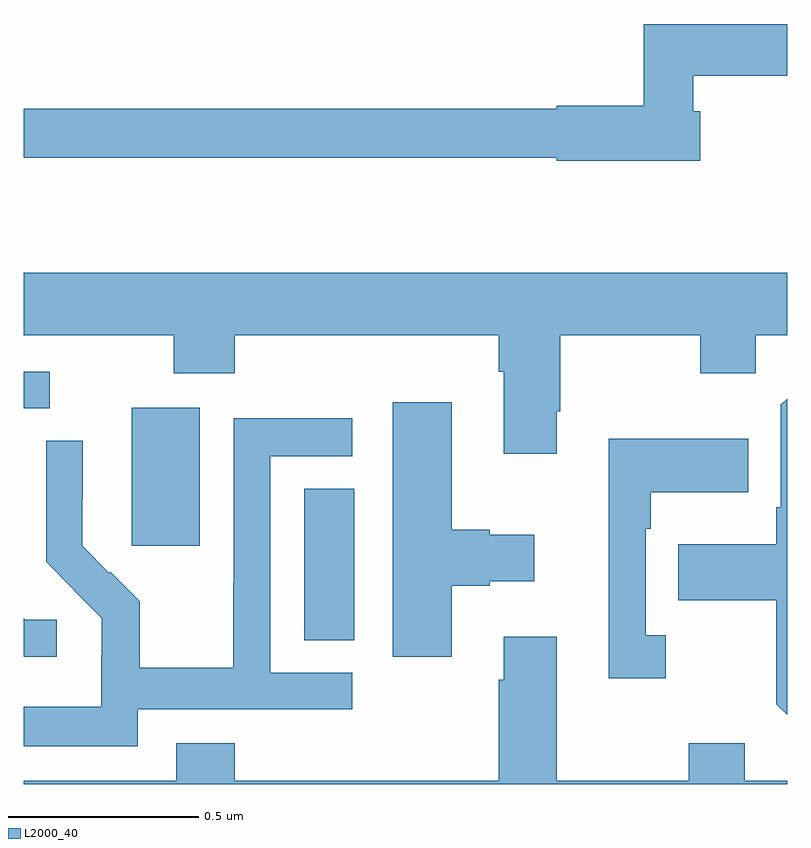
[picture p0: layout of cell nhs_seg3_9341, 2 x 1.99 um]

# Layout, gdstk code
import gdstk
lib = gdstk.Library(unit=1e-6, precision=1e-09)
def R(c, l, rs):  # rectangles x0, y0, x1, y1
    for r in rs: c.add(gdstk.rectangle(r[:2], r[2:], *l))
def P(c, l, *ps):  # polygons
    for p in ps: c.add(gdstk.Polygon(p, *l))
L2000_40 = (2000, 40)

nhs_seg3_9341 = lib.new_cell('nhs_seg3_9341')
R(nhs_seg3_9341, L2000_40, [(227.735,706.777,227.866,707.174), (227.282,707.025,227.461,707.386), (227,707.385,227.068,707.481)])
P(nhs_seg3_9341, L2000_40, [(228.772,708.163),(228.754,708.163),(228.754,708.256),(229,708.256),(229,708.392),(228.625,708.392),(228.625,708.178),(228.396,708.178),(228.396,708.17),(227,708.17),(227,708.042),(228.396,708.042),(228.396,708.034),(228.772,708.034)],
  [(228.397,707.377),(228.405,707.377),(228.405,707.576),(228.772,707.576),(228.772,707.477),(228.918,707.477),(228.918,707.576),(229,707.576),(229,707.74),(227,707.74),(227,707.576),(227.392,707.576),(227.392,707.477),(227.552,707.477),(227.552,707.576),(228.245,707.576),(228.245,707.48),(228.257,707.48),(228.257,707.265),(228.397,707.265)],
  [(229,707.41),(228.984,707.394),(228.984,707.125),(228.972,707.125),(228.972,707.029),(228.715,707.029),(228.715,706.882),(228.972,706.882),(228.972,706.609),(229,706.581)],
  [(228.121,706.919),(228.221,706.919),(228.221,706.931),(228.337,706.931),(228.337,707.053),(228.221,707.053),(228.221,707.066),(228.121,707.066),(228.121,707.401),(227.966,707.401),(227.966,706.734),(228.121,706.734)],
  [(227.298,706.596),(227.86,706.596),(227.86,706.692),(227.646,706.692),(227.646,707.259),(227.86,707.259),(227.86,707.358),(227.55,707.358),(227.55,706.928),(227.548,706.928),(227.548,706.705),(227.303,706.705),(227.303,706.879),(227.226,706.956),(227.223,706.953),(227.153,707.024),(227.153,707.146),(227.154,707.146),(227.154,707.3),(227.058,707.3),(227.058,706.982),(227.131,706.909),(227.13,706.908),(227.204,706.834),(227.204,706.737),(227.202,706.737),(227.202,706.603),(227,706.603),(227,706.499),(227.298,706.499)],
  [(228.682,706.79),(228.63,706.79),(228.63,707.069),(228.643,707.069),(228.643,707.165),(228.899,707.165),(228.899,707.305),(228.533,707.305),(228.533,706.677),(228.682,706.677)],
  [(227.086,706.83),(227.004,706.83),(227,706.834),(227,706.733),(227.086,706.733)],
  [(229,706.408),(228.889,706.408),(228.889,706.507),(228.742,706.507),(228.742,706.408),(228.397,706.408),(228.397,706.786),(228.257,706.786),(228.257,706.673),(228.245,706.673),(228.245,706.408),(227.552,706.408),(227.552,706.507),(227.399,706.507),(227.399,706.408),(227,706.408),(227,706.4),(229,706.4)])

lib.write_gds('nhs_seg3_9341.gds')
